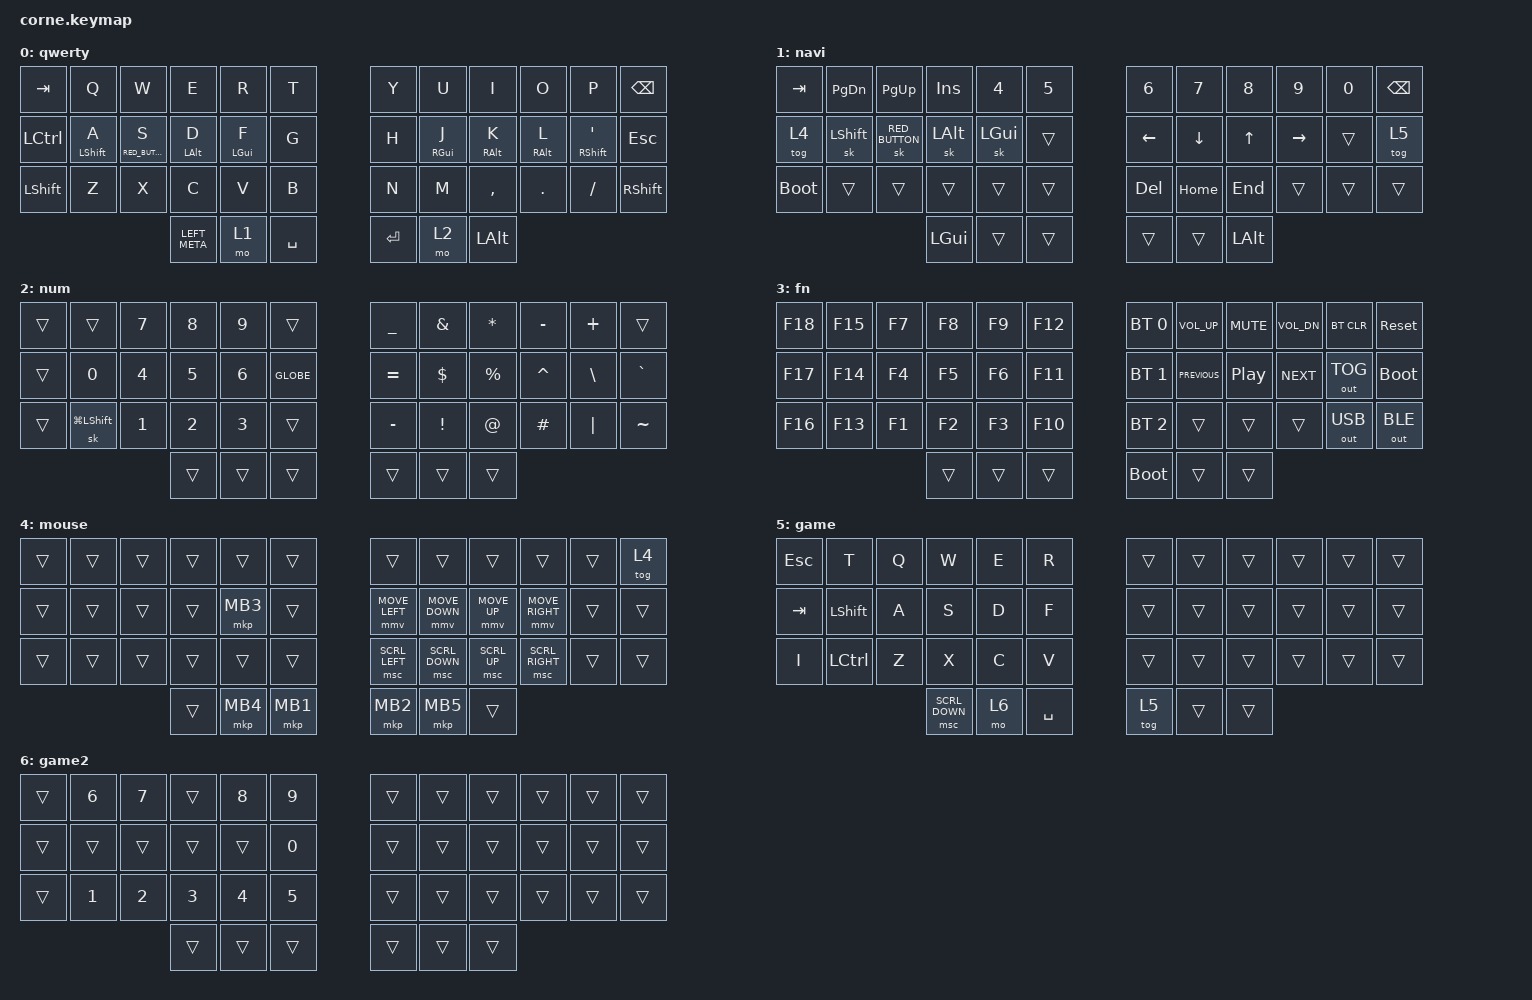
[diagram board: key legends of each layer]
/*
 * Copyright (c) 2020 The ZMK Contributors
 *
 * SPDX-License-Identifier: MIT
 */

#include <behaviors.dtsi>
#include <dt-bindings/zmk/bt.h>
#include <dt-bindings/zmk/keys.h>
#include <dt-bindings/zmk/outputs.h>
#include <dt-bindings/zmk/pointing.h>

/ {
    combos {
        compatible = "zmk,combos";

        semcol {
            bindings = <&kp SEMI>;
            key-positions = <32 33>;
            timeout-ms = <50>;
            layers = <0>;
        };

        cpslck {
            bindings = <&kp CAPSLOCK>;
            key-positions = <24 35>;
            layers = <0>;
        };

        parentheses_left {
            bindings = <&kp LEFT_PARENTHESIS>;
            key-positions = <16 15>;
            layers = <0>;
        };

        parentheses_right {
            bindings = <&kp RIGHT_PARENTHESIS>;
            key-positions = <19 20>;
            layers = <0>;
        };

        bracket_left {
            bindings = <&kp LEFT_BRACKET>;
            key-positions = <3 4>;
            layers = <0>;
        };

        bracket_right {
            bindings = <&kp RIGHT_BRACKET>;
            key-positions = <8 7>;
            layers = <0>;
        };

        colon {
            bindings = <&kp COLON>;
            key-positions = <20 21>;
            layers = <0>;
        };

        grave {
            bindings = <&kp GRAVE>;
            key-positions = <15 14>;
            layers = <0>;
        };

        brace_left {
            bindings = <&kp LEFT_BRACE>;
            key-positions = <27 28>;
            layers = <0>;
        };

        brace_right {
            bindings = <&kp RIGHT_BRACE>;
            key-positions = <31 32>;
            layers = <0>;
        };

        less_than {
            bindings = <&kp LESS_THAN>;
            key-positions = <2 3>;
            layers = <0>;
        };

        bigger_than {
            bindings = <&kp GREATER_THAN>;
            key-positions = <8 9>;
            layers = <0>;
        };

        hyphen {
            bindings = <&kp MINUS>;
            key-positions = <28 31>;
            layers = <0>;
        };

        plus {
            bindings = <&kp PLUS>;
            key-positions = <4 7>;
            layers = <0>;
        };

        equal {
            bindings = <&kp EQUAL>;
            key-positions = <16 19>;
            layers = <0>;
        };

        Pipe {
            bindings = <&kp PIPE>;
            key-positions = <27 26>;
            layers = <0>;
        };

        astrsk {
            bindings = <&kp ASTERISK>;
            key-positions = <3 8>;
            layers = <0>;
        };

        dollar {
            bindings = <&kp DOLLAR>;
            key-positions = <15 20>;
            layers = <0>;
        };

        excl {
            bindings = <&kp EXCL>;
            key-positions = <27 32>;
            layers = <0>;
        };

        ampersand {
            bindings = <&kp AMPERSAND>;
            key-positions = <17 18>;
            layers = <0>;
        };

        underscore {
            bindings = <&kp UNDERSCORE>;
            key-positions = <29 30>;
            layers = <0>;
        };

        backslash {
            bindings = <&kp BACKSLASH>;
            key-positions = <21 22>;
            layers = <0>;
        };

        tilde {
            bindings = <&kp TILDE>;
            key-positions = <14 13>;
            layers = <0>;
        };
    };

    behaviors {
        hml: hml {
            compatible = "zmk,behavior-hold-tap";
            label = "HML";
            bindings = <&kp>, <&kp>;

            #binding-cells = <2>;
            tapping-term-ms = <280>;
            quick-tap-ms = <175>;
            flavor = "balanced";
            hold-trigger-on-release;
            hold-trigger-key-positions = <6 7 8 9 10 11 18 19 20 21 22 23 30 31 32 33 34 35 38 39 40 41 37 36>;
            require-prior-idle-ms = <150>;
        };

        hmr: hmr {
            compatible = "zmk,behavior-hold-tap";
            label = "HMR";
            bindings = <&kp>, <&kp>;

            #binding-cells = <2>;
            tapping-term-ms = <280>;
            quick-tap-ms = <175>;
            hold-trigger-on-release;
            hold-trigger-key-positions = <0 1 2 3 4 5 12 13 14 15 16 17 24 25 26 27 28 29 36 37 38 39 40 41>;
            flavor = "balanced";
            require-prior-idle-ms = <150>;
        };

        lrt: lrt {
            compatible = "zmk,behavior-hold-tap";
            label = "LRT";
            bindings = <&mo>, <&kp>;

            #binding-cells = <2>;
            tapping-term-ms = <150>;
            flavor = "tap-preferred";
        };
    };

    keymap {
        compatible = "zmk,keymap";

        default_layer {
            // -----------------------------------------------------------------------------------------
            // |  TAB |  Q  |  W  |  E  |  R  |  T  |   |  Y  |  U   |  I  |  O  |  P  | BSPC |
            // | CTRL |  A  |  S  |  D  |  F  |  G  |   |  H  |  J   |  K  |  L  |  ;  |  '   |
            // | SHFT |  Z  |  X  |  C  |  V  |  B  |   |  N  |  M   |  ,  |  .  |  /  | ESC  |
            //                    | GUI | LWR | SPC |   | ENT | RSE  | ALT |

            bindings = <
&kp TAB         &kp Q              &kp W                &kp E            &kp R            &kp T        &kp Y      &kp U             &kp I             &kp O             &kp P                 &kp BSPC
&kp LCTRL       &hml LEFT_SHIFT A  &hml C_RED_BUTTON S  &hml LEFT_ALT D  &hml LEFT_GUI F  &kp G        &kp H      &hmr RIGHT_GUI J  &hmr RIGHT_ALT K  &hmr RIGHT_ALT L  &hmr RIGHT_SHIFT SQT  &kp ESC
&kp LEFT_SHIFT  &kp Z              &kp X                &kp C            &kp V            &kp B        &kp N      &kp M             &kp COMMA         &kp DOT           &kp FSLH              &kp RIGHT_SHIFT
                                                        &kp LEFT_META    &mo 1            &kp SPACE    &kp ENTER  &mo 2             &kp LEFT_ALT
            >;

            label = "qwerty";
        };

        Nav {
            // -----------------------------------------------------------------------------------------
            // |  TAB |  1  |  2  |  3  |  4  |  5  |   |  6  |  7  |  8  |  9  |  0  | BSPC |
            // | BTCLR| BT1 | BT2 | BT3 | BT4 | BT5 |   | LFT | DWN |  UP | RGT |     |      |
            // | SHFT |     |     |     |     |     |   |     |     |     |     |     |      |
            //                    | GUI |     | SPC |   | ENT |     | ALT |

            bindings = <
&kp TAB      &kp PG_DN       &kp PG_UP         &kp INS       &kp N4        &kp N5    &kp N6    &kp N7    &kp N8        &kp N9     &kp N0  &kp BSPC
&tog 4       &sk LEFT_SHIFT  &sk C_RED_BUTTON  &sk LEFT_ALT  &sk LEFT_GUI  &trans    &kp LEFT  &kp DOWN  &kp UP        &kp RIGHT  &trans  &tog 5
&bootloader  &trans          &trans            &trans        &trans        &trans    &kp DEL   &kp HOME  &kp END       &trans     &trans  &trans
                                               &kp LGUI      &trans        &trans    &trans    &trans    &kp LEFT_ALT
            >;

            label = "navi";
        };

        Num_Sym {
            bindings = <
&trans  &trans              &kp N7        &kp N8        &kp N9        &trans       &kp UNDERSCORE  &kp AMPS  &kp STAR   &kp MINUS  &kp PLUS       &trans
&trans  &kp N0              &kp NUMBER_4  &kp N5        &kp NUMBER_6  &kp GLOBE    &kp EQUAL       &kp DLLR  &kp PRCNT  &kp CARET  &kp BACKSLASH  &kp GRAVE
&trans  &sk LG(LEFT_SHIFT)  &kp NUMBER_1  &kp NUMBER_2  &kp NUMBER_3  &trans       &kp MINUS       &kp EXCL  &kp AT     &kp HASH   &kp PIPE       &kp TILDE
                                          &trans        &trans        &trans       &trans          &trans    &trans
            >;

            label = "num";
        };

        Fn {
            bindings = <
&kp F18  &kp F15  &kp F7  &kp F8  &kp F9  &kp F12    &bt BT_SEL 0  &kp C_VOLUME_UP  &kp C_MUTE        &kp C_VOL_DN  &bt BT_CLR    &sys_reset
&kp F17  &kp F14  &kp F4  &kp F5  &kp F6  &kp F11    &bt BT_SEL 1  &kp C_PREVIOUS   &kp C_PLAY_PAUSE  &kp C_NEXT    &out OUT_TOG  &bootloader
&kp F16  &kp F13  &kp F1  &kp F2  &kp F3  &kp F10    &bt BT_SEL 2  &trans           &trans            &trans        &out OUT_USB  &out OUT_BLE
                          &trans  &trans  &trans     &bootloader   &trans           &trans
            >;

            label = "fn";
        };

        MouseNav {
            bindings = <
&trans  &trans  &trans  &trans  &trans    &trans      &trans          &trans          &trans        &trans           &trans  &tog 4
&trans  &trans  &trans  &trans  &mkp MB3  &trans      &mmv MOVE_LEFT  &mmv MOVE_DOWN  &mmv MOVE_UP  &mmv MOVE_RIGHT  &trans  &trans
&trans  &trans  &trans  &trans  &trans    &trans      &msc SCRL_LEFT  &msc SCRL_DOWN  &msc SCRL_UP  &msc SCRL_RIGHT  &trans  &trans
                        &trans  &mkp MB4  &mkp MB1    &mkp MB2        &mkp MB5        &trans
            >;

            label = "mouse";
        };

        Gaming1 {
            bindings = <
&kp ESCAPE  &kp T           &kp Q  &kp W           &kp E  &kp R        &trans  &trans  &trans  &trans  &trans  &trans
&kp TAB     &kp LEFT_SHIFT  &kp A  &kp S           &kp D  &kp F        &trans  &trans  &trans  &trans  &trans  &trans
&kp I       &kp LCTRL       &kp Z  &kp X           &kp C  &kp V        &trans  &trans  &trans  &trans  &trans  &trans
                                   &msc SCRL_DOWN  &mo 6  &kp SPACE    &tog 5  &trans  &trans
            >;

            label = "game";
        };

        GamingLayer2 {
            bindings = <
&trans  &kp NUMBER_6  &kp N7        &trans        &kp N8        &kp N9    &trans  &trans  &trans  &trans  &trans  &trans
&trans  &trans        &trans        &trans        &trans        &kp N0    &trans  &trans  &trans  &trans  &trans  &trans
&trans  &kp NUMBER_1  &kp NUMBER_2  &kp NUMBER_3  &kp NUMBER_4  &kp N5    &trans  &trans  &trans  &trans  &trans  &trans
                                    &trans        &trans        &trans    &trans  &trans  &trans
            >;

            label = "game2";
        };
    };

    conditional_layers {
        compatible = "zmk,conditional-layers";

        func_layer {
            if-layers = <1 2>;
            then-layer = <3>;
        };
    };
};
